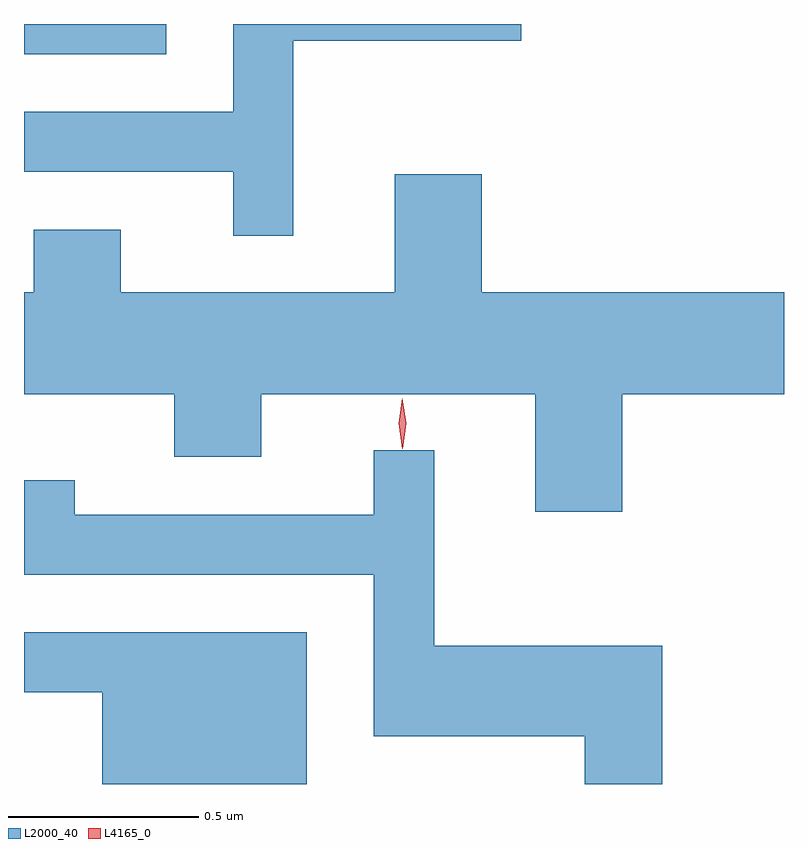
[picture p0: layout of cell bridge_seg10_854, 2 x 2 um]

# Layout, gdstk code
import gdstk
lib = gdstk.Library(unit=1e-6, precision=1e-09)
def R(c, l, rs):  # rectangles x0, y0, x1, y1
    for r in rs: c.add(gdstk.rectangle(r[:2], r[2:], *l))
def P(c, l, *ps):  # polygons
    for p in ps: c.add(gdstk.Polygon(p, *l))
L2000_40 = (2000, 40)
L4165_0 = (4165, 0)

bridge_seg10_854 = lib.new_cell('bridge_seg10_854')
R(bridge_seg10_854, L2000_40, [(401.405,2194.731,401.779,2194.81)])
P(bridge_seg10_854, L2000_40, [(402.114,2194.766),(402.714,2194.766),(402.714,2194.81),(401.956,2194.81),(401.956,2194.579),(401.405,2194.579),(401.405,2194.421),(401.956,2194.421),(401.956,2194.253),(402.114,2194.253)],
  [(402.979,2193.836),(403.405,2193.836),(403.405,2194.104),(402.609,2194.104),(402.609,2194.414),(402.381,2194.414),(402.381,2194.104),(401.659,2194.104),(401.659,2194.269),(401.431,2194.269),(401.431,2194.104),(401.405,2194.104),(401.405,2193.836),(401.801,2193.836),(401.801,2193.671),(402.029,2193.671),(402.029,2193.836),(402.751,2193.836),(402.751,2193.526),(402.979,2193.526)],
  [(403.084,2193.174),(402.484,2193.174),(402.484,2193.688),(402.326,2193.688),(402.326,2193.519),(401.539,2193.519),(401.539,2193.609),(401.405,2193.609),(401.405,2193.361),(402.326,2193.361),(402.326,2192.936),(402.881,2192.936),(402.881,2192.81),(403.084,2192.81)],
  [(402.149,2193.209),(401.405,2193.209),(401.405,2193.051),(401.611,2193.051),(401.611,2192.81),(402.149,2192.81)])
P(bridge_seg10_854, L4165_0, [(402.401,2193.692),(402.401,2193.692),(402.391,2193.759),(402.4,2193.825),(402.401,2193.825),(402.401,2193.825),(402.411,2193.759),(402.402,2193.692)])

lib.write_gds('bridge_seg10_854.gds')
